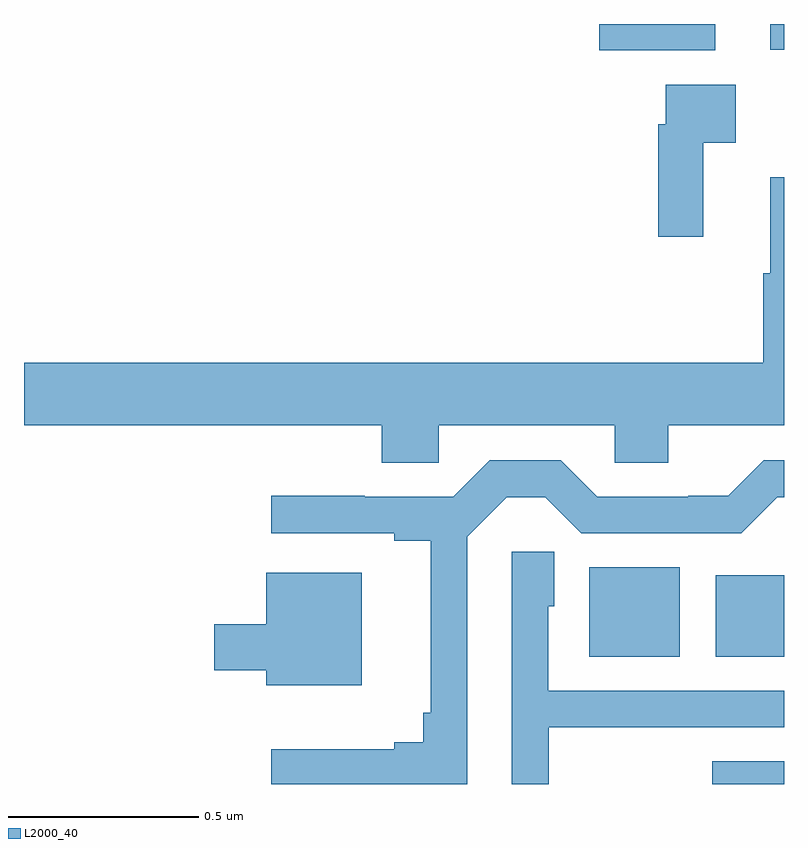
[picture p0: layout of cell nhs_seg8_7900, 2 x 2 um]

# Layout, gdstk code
import gdstk
lib = gdstk.Library(unit=1e-6, precision=1e-09)
def R(c, l, rs):  # rectangles x0, y0, x1, y1
    for r in rs: c.add(gdstk.rectangle(r[:2], r[2:], *l))
def P(c, l, *ps):  # polygons
    for p in ps: c.add(gdstk.Polygon(p, *l))
L2000_40 = (2000, 40)

nhs_seg8_7900 = lib.new_cell('nhs_seg8_7900')
R(nhs_seg8_7900, L2000_40, [(217.811,1104.9,218,1104.96), (217.487,1105.235,217.726,1105.471), (217.82,1105.235,218,1105.45), (217.514,1106.831,217.819,1106.9), (217.964,1106.832,218,1106.9)])
P(nhs_seg8_7900, L2000_40, [(217.787,1106.588),(217.873,1106.588),(217.873,1106.74),(217.689,1106.74),(217.689,1106.636),(217.669,1106.636),(217.669,1106.34),(217.787,1106.34)],
  [(217.092,1105.844),(217.554,1105.844),(217.554,1105.746),(217.696,1105.746),(217.696,1105.844),(218,1105.844),(218,1106.497),(217.964,1106.497),(217.964,1106.244),(217.945,1106.244),(217.945,1106.008),(216,1106.008),(216,1105.844),(216.941,1105.844),(216.941,1105.746),(217.092,1105.746)],
  [(217.167,1105.551),(217.271,1105.655),(217.372,1105.655),(217.467,1105.56),(217.887,1105.56),(217.982,1105.655),(218,1105.655),(218,1105.752),(217.947,1105.752),(217.853,1105.658),(217.748,1105.658),(217.748,1105.656),(217.509,1105.656),(217.413,1105.752),(217.226,1105.752),(217.13,1105.656),(216.897,1105.656),(216.897,1105.658),(216.651,1105.658),(216.651,1105.56),(216.974,1105.56),(216.974,1105.54),(217.07,1105.54),(217.07,1105.087),(217.051,1105.087),(217.051,1105.01),(216.974,1105.01),(216.974,1104.991),(216.651,1104.991),(216.651,1104.9),(217.167,1104.9)],
  [(217.381,1105.049),(217.715,1105.049),(217.715,1105.05),(218,1105.05),(218,1105.146),(217.38,1105.146),(217.38,1105.368),(217.396,1105.368),(217.396,1105.511),(217.284,1105.511),(217.284,1104.9),(217.381,1104.9)],
  [(216.889,1105.456),(216.638,1105.456),(216.638,1105.321),(216.501,1105.321),(216.501,1105.199),(216.638,1105.199),(216.638,1105.16),(216.889,1105.16)])

lib.write_gds('nhs_seg8_7900.gds')
